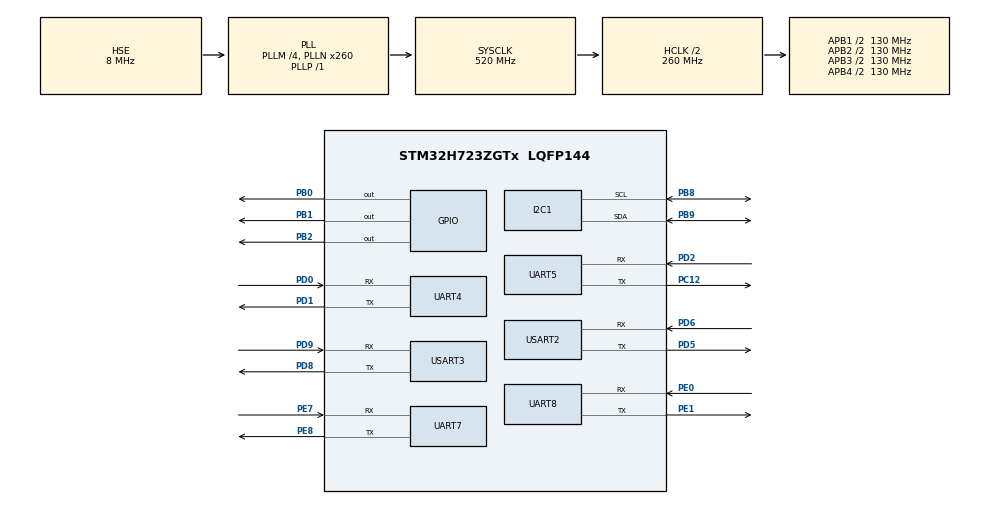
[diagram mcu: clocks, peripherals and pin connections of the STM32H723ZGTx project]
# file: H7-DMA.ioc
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CORTEX_M7.default_mode_Activation=1
Dma.Request0=UART4_RX
Dma.Request1=UART5_RX
Dma.Request2=UART7_RX
Dma.Request3=USART2_RX
Dma.Request4=UART4_TX
Dma.Request5=UART5_TX
Dma.Request6=UART7_TX
Dma.Request7=USART2_TX
Dma.Request8=UART8_RX
Dma.Request9=UART8_TX
Dma.UART4_RX.0.Direction=DMA_PERIPH_TO_MEMORY
Dma.UART4_RX.0.EventEnable=DISABLE
Dma.UART4_RX.0.FIFOMode=DMA_FIFOMODE_DISABLE
Dma.UART4_RX.0.Instance=DMA1_Stream0
Dma.UART4_RX.0.MemDataAlignment=DMA_MDATAALIGN_BYTE
Dma.UART4_RX.0.MemInc=DMA_MINC_ENABLE
Dma.UART4_RX.0.Mode=DMA_NORMAL
Dma.UART4_RX.0.PeriphDataAlignment=DMA_PDATAALIGN_BYTE
Dma.UART4_RX.0.PeriphInc=DMA_PINC_DISABLE
Dma.UART4_RX.0.Polarity=HAL_DMAMUX_REQ_GEN_RISING
Dma.UART4_RX.0.Priority=DMA_PRIORITY_HIGH
Dma.UART4_RX.0.RequestNumber=1
Dma.UART4_RX.0.SignalID=NONE
Dma.UART4_RX.0.SyncEnable=DISABLE
Dma.UART4_RX.0.SyncPolarity=HAL_DMAMUX_SYNC_NO_EVENT
Dma.UART4_RX.0.SyncRequestNumber=1
Dma.UART4_RX.0.SyncSignalID=NONE
Dma.UART4_TX.4.Direction=DMA_MEMORY_TO_PERIPH
Dma.UART4_TX.4.EventEnable=DISABLE
Dma.UART4_TX.4.FIFOMode=DMA_FIFOMODE_DISABLE
Dma.UART4_TX.4.Instance=DMA1_Stream4
Dma.UART4_TX.4.MemDataAlignment=DMA_MDATAALIGN_BYTE
Dma.UART4_TX.4.MemInc=DMA_MINC_ENABLE
Dma.UART4_TX.4.Mode=DMA_NORMAL
Dma.UART4_TX.4.PeriphDataAlignment=DMA_PDATAALIGN_BYTE
Dma.UART4_TX.4.PeriphInc=DMA_PINC_DISABLE
Dma.UART4_TX.4.Polarity=HAL_DMAMUX_REQ_GEN_RISING
Dma.UART4_TX.4.Priority=DMA_PRIORITY_HIGH
Dma.UART4_TX.4.RequestNumber=1
Dma.UART4_TX.4.SignalID=NONE
Dma.UART4_TX.4.SyncEnable=DISABLE
Dma.UART4_TX.4.SyncPolarity=HAL_DMAMUX_SYNC_NO_EVENT
Dma.UART4_TX.4.SyncRequestNumber=1
Dma.UART4_TX.4.SyncSignalID=NONE
Dma.UART5_RX.1.Direction=DMA_PERIPH_TO_MEMORY
Dma.UART5_RX.1.EventEnable=DISABLE
Dma.UART5_RX.1.FIFOMode=DMA_FIFOMODE_DISABLE
Dma.UART5_RX.1.Instance=DMA1_Stream1
Dma.UART5_RX.1.MemDataAlignment=DMA_MDATAALIGN_BYTE
Dma.UART5_RX.1.MemInc=DMA_MINC_ENABLE
Dma.UART5_RX.1.Mode=DMA_NORMAL
Dma.UART5_RX.1.PeriphDataAlignment=DMA_PDATAALIGN_BYTE
Dma.UART5_RX.1.PeriphInc=DMA_PINC_DISABLE
Dma.UART5_RX.1.Polarity=HAL_DMAMUX_REQ_GEN_RISING
Dma.UART5_RX.1.Priority=DMA_PRIORITY_HIGH
Dma.UART5_RX.1.RequestNumber=1
Dma.UART5_RX.1.SignalID=NONE
Dma.UART5_RX.1.SyncEnable=DISABLE
Dma.UART5_RX.1.SyncPolarity=HAL_DMAMUX_SYNC_NO_EVENT
Dma.UART5_RX.1.SyncRequestNumber=1
Dma.UART5_RX.1.SyncSignalID=NONE
Dma.UART5_TX.5.Direction=DMA_MEMORY_TO_PERIPH
Dma.UART5_TX.5.EventEnable=DISABLE
Dma.UART5_TX.5.FIFOMode=DMA_FIFOMODE_DISABLE
Dma.UART5_TX.5.Instance=DMA1_Stream5
Dma.UART5_TX.5.MemDataAlignment=DMA_MDATAALIGN_BYTE
Dma.UART5_TX.5.MemInc=DMA_MINC_ENABLE
Dma.UART5_TX.5.Mode=DMA_NORMAL
Dma.UART5_TX.5.PeriphDataAlignment=DMA_PDATAALIGN_BYTE
Dma.UART5_TX.5.PeriphInc=DMA_PINC_DISABLE
Dma.UART5_TX.5.Polarity=HAL_DMAMUX_REQ_GEN_RISING
Dma.UART5_TX.5.Priority=DMA_PRIORITY_HIGH
Dma.UART5_TX.5.RequestNumber=1
Dma.UART5_TX.5.SignalID=NONE
Dma.UART5_TX.5.SyncEnable=DISABLE
Dma.UART5_TX.5.SyncPolarity=HAL_DMAMUX_SYNC_NO_EVENT
Dma.UART5_TX.5.SyncRequestNumber=1
Dma.UART5_TX.5.SyncSignalID=NONE
Dma.UART7_RX.2.Direction=DMA_PERIPH_TO_MEMORY
Dma.UART7_RX.2.EventEnable=DISABLE
Dma.UART7_RX.2.FIFOMode=DMA_FIFOMODE_DISABLE
Dma.UART7_RX.2.Instance=DMA1_Stream2
Dma.UART7_RX.2.MemDataAlignment=DMA_MDATAALIGN_BYTE
Dma.UART7_RX.2.MemInc=DMA_MINC_ENABLE
Dma.UART7_RX.2.Mode=DMA_NORMAL
Dma.UART7_RX.2.PeriphDataAlignment=DMA_PDATAALIGN_BYTE
Dma.UART7_RX.2.PeriphInc=DMA_PINC_DISABLE
Dma.UART7_RX.2.Polarity=HAL_DMAMUX_REQ_GEN_RISING
Dma.UART7_RX.2.Priority=DMA_PRIORITY_HIGH
Dma.UART7_RX.2.RequestNumber=1
Dma.UART7_RX.2.SignalID=NONE
Dma.UART7_RX.2.SyncEnable=DISABLE
Dma.UART7_RX.2.SyncPolarity=HAL_DMAMUX_SYNC_NO_EVENT
Dma.UART7_RX.2.SyncRequestNumber=1
Dma.UART7_RX.2.SyncSignalID=NONE
Dma.UART7_TX.6.Direction=DMA_MEMORY_TO_PERIPH
Dma.UART7_TX.6.EventEnable=DISABLE
Dma.UART7_TX.6.FIFOMode=DMA_FIFOMODE_DISABLE
Dma.UART7_TX.6.Instance=DMA1_Stream6
Dma.UART7_TX.6.MemDataAlignment=DMA_MDATAALIGN_BYTE
Dma.UART7_TX.6.MemInc=DMA_MINC_ENABLE
Dma.UART7_TX.6.Mode=DMA_NORMAL
Dma.UART7_TX.6.PeriphDataAlignment=DMA_PDATAALIGN_BYTE
Dma.UART7_TX.6.PeriphInc=DMA_PINC_DISABLE
Dma.UART7_TX.6.Polarity=HAL_DMAMUX_REQ_GEN_RISING
Dma.UART7_TX.6.Priority=DMA_PRIORITY_HIGH
Dma.UART7_TX.6.RequestNumber=1
Dma.UART7_TX.6.SignalID=NONE
Dma.UART7_TX.6.SyncEnable=DISABLE
Dma.UART7_TX.6.SyncPolarity=HAL_DMAMUX_SYNC_NO_EVENT
Dma.UART7_TX.6.SyncRequestNumber=1
Dma.UART7_TX.6.SyncSignalID=NONE
Dma.UART8_RX.8.Direction=DMA_PERIPH_TO_MEMORY
Dma.UART8_RX.8.EventEnable=DISABLE
Dma.UART8_RX.8.FIFOMode=DMA_FIFOMODE_DISABLE
Dma.UART8_RX.8.Instance=DMA2_Stream0
Dma.UART8_RX.8.MemDataAlignment=DMA_MDATAALIGN_BYTE
Dma.UART8_RX.8.MemInc=DMA_MINC_ENABLE
Dma.UART8_RX.8.Mode=DMA_NORMAL
Dma.UART8_RX.8.PeriphDataAlignment=DMA_PDATAALIGN_BYTE
Dma.UART8_RX.8.PeriphInc=DMA_PINC_DISABLE
Dma.UART8_RX.8.Polarity=HAL_DMAMUX_REQ_GEN_RISING
Dma.UART8_RX.8.Priority=DMA_PRIORITY_MEDIUM
Dma.UART8_RX.8.RequestNumber=1
Dma.UART8_RX.8.SignalID=NONE
Dma.UART8_RX.8.SyncEnable=DISABLE
Dma.UART8_RX.8.SyncPolarity=HAL_DMAMUX_SYNC_NO_EVENT
Dma.UART8_RX.8.SyncRequestNumber=1
Dma.UART8_RX.8.SyncSignalID=NONE
Dma.UART8_TX.9.Direction=DMA_MEMORY_TO_PERIPH
Dma.UART8_TX.9.EventEnable=DISABLE
Dma.UART8_TX.9.FIFOMode=DMA_FIFOMODE_DISABLE
Dma.UART8_TX.9.Instance=DMA2_Stream1
Dma.UART8_TX.9.MemDataAlignment=DMA_MDATAALIGN_BYTE
Dma.UART8_TX.9.MemInc=DMA_MINC_ENABLE
Dma.UART8_TX.9.Mode=DMA_NORMAL
Dma.UART8_TX.9.PeriphDataAlignment=DMA_PDATAALIGN_BYTE
Dma.UART8_TX.9.PeriphInc=DMA_PINC_DISABLE
Dma.UART8_TX.9.Polarity=HAL_DMAMUX_REQ_GEN_RISING
Dma.UART8_TX.9.Priority=DMA_PRIORITY_MEDIUM
Dma.UART8_TX.9.RequestNumber=1
Dma.UART8_TX.9.SignalID=NONE
Dma.UART8_TX.9.SyncEnable=DISABLE
Dma.UART8_TX.9.SyncPolarity=HAL_DMAMUX_SYNC_NO_EVENT
Dma.UART8_TX.9.SyncRequestNumber=1
Dma.UART8_TX.9.SyncSignalID=NONE
Dma.USART2_RX.3.Direction=DMA_PERIPH_TO_MEMORY
Dma.USART2_RX.3.EventEnable=DISABLE
Dma.USART2_RX.3.FIFOMode=DMA_FIFOMODE_DISABLE
Dma.USART2_RX.3.Instance=DMA1_Stream3
Dma.USART2_RX.3.MemDataAlignment=DMA_MDATAALIGN_BYTE
Dma.USART2_RX.3.MemInc=DMA_MINC_ENABLE
Dma.USART2_RX.3.Mode=DMA_NORMAL
Dma.USART2_RX.3.PeriphDataAlignment=DMA_PDATAALIGN_BYTE
Dma.USART2_RX.3.PeriphInc=DMA_PINC_DISABLE
Dma.USART2_RX.3.Polarity=HAL_DMAMUX_REQ_GEN_RISING
Dma.USART2_RX.3.Priority=DMA_PRIORITY_HIGH
Dma.USART2_RX.3.RequestNumber=1
Dma.USART2_RX.3.SignalID=NONE
Dma.USART2_RX.3.SyncEnable=DISABLE
Dma.USART2_RX.3.SyncPolarity=HAL_DMAMUX_SYNC_NO_EVENT
Dma.USART2_RX.3.SyncRequestNumber=1
Dma.USART2_RX.3.SyncSignalID=NONE
Dma.USART2_TX.7.Direction=DMA_MEMORY_TO_PERIPH
Dma.USART2_TX.7.EventEnable=DISABLE
Dma.USART2_TX.7.FIFOMode=DMA_FIFOMODE_DISABLE
Dma.USART2_TX.7.Instance=DMA1_Stream7
Dma.USART2_TX.7.MemDataAlignment=DMA_MDATAALIGN_BYTE
Dma.USART2_TX.7.MemInc=DMA_MINC_ENABLE
Dma.USART2_TX.7.Mode=DMA_NORMAL
Dma.USART2_TX.7.PeriphDataAlignment=DMA_PDATAALIGN_BYTE
Dma.USART2_TX.7.PeriphInc=DMA_PINC_DISABLE
Dma.USART2_TX.7.Polarity=HAL_DMAMUX_REQ_GEN_RISING
Dma.USART2_TX.7.Priority=DMA_PRIORITY_HIGH
Dma.USART2_TX.7.RequestNumber=1
Dma.USART2_TX.7.SignalID=NONE
Dma.USART2_TX.7.SyncEnable=DISABLE
Dma.USART2_TX.7.SyncPolarity=HAL_DMAMUX_SYNC_NO_EVENT
Dma.USART2_TX.7.SyncRequestNumber=1
Dma.USART2_TX.7.SyncSignalID=NONE
I2C1.CustomTiming=Enabled
I2C1.Timing=0x20A0ACFE
Mcu.Family=STM32H7
Mcu.Name=STM32H723ZGTx
Mcu.Package=LQFP144
NVIC.DMA1_Stream0_IRQn=true\:5\:0\:true\:false\:true\:false\:true\:true
NVIC.DMA1_Stream1_IRQn=true\:5\:0\:true\:false\:true\:false\:true\:true
NVIC.DMA1_Stream2_IRQn=true\:5\:0\:true\:false\:true\:false\:true\:true
NVIC.DMA1_Stream3_IRQn=true\:5\:0\:true\:false\:true\:false\:true\:true
NVIC.DMA1_Stream4_IRQn=true\:5\:0\:false\:false\:true\:false\:true\:true
NVIC.DMA1_Stream5_IRQn=true\:5\:0\:false\:false\:true\:false\:true\:true
NVIC.DMA1_Stream6_IRQn=true\:5\:0\:false\:false\:true\:false\:true\:true
NVIC.DMA1_Stream7_IRQn=true\:5\:0\:false\:false\:true\:false\:true\:true
NVIC.DMA2_Stream0_IRQn=true\:6\:0\:true\:false\:true\:false\:true\:true
NVIC.DMA2_Stream1_IRQn=true\:6\:0\:true\:false\:true\:false\:true\:true
NVIC.PriorityGroup=NVIC_PRIORITYGROUP_4
NVIC.UART4_IRQn=true\:5\:0\:true\:false\:true\:true\:true\:true
NVIC.UART5_IRQn=true\:5\:0\:true\:false\:true\:true\:true\:true
NVIC.UART7_IRQn=true\:5\:0\:true\:false\:true\:true\:true\:true
NVIC.UART8_IRQn=true\:6\:0\:true\:false\:true\:true\:true\:true
NVIC.USART2_IRQn=true\:5\:0\:true\:false\:true\:true\:true\:true
NVIC.USART3_IRQn=true\:4\:0\:true\:false\:true\:true\:true\:true
PB0.Signal=GPIO_Output
PB1.Signal=GPIO_Output
PB2.Signal=GPIO_Output
PB8.Mode=I2C
PB8.Signal=I2C1_SCL
PB9.Mode=I2C
PB9.Signal=I2C1_SDA
PC12.Mode=Asynchronous
PC12.Signal=UART5_TX
PD0.Mode=Asynchronous
PD0.Signal=UART4_RX
PD1.Mode=Asynchronous
PD1.Signal=UART4_TX
PD2.Mode=Asynchronous
PD2.Signal=UART5_RX
PD5.Mode=Asynchronous
PD5.Signal=USART2_TX
PD6.Mode=Asynchronous
PD6.Signal=USART2_RX
PD8.Mode=Asynchronous
PD8.Signal=USART3_TX
PD9.Mode=Asynchronous
PD9.Signal=USART3_RX
PE0.Mode=Asynchronous
PE0.Signal=UART8_RX
PE1.Mode=Asynchronous
PE1.Signal=UART8_TX
PE7.Mode=Asynchronous
PE7.Signal=UART7_RX
PE8.Mode=Asynchronous
PE8.Signal=UART7_TX
PH0-OSC_IN.Mode=HSE-External-Clock-Source
PH0-OSC_IN.Signal=RCC_OSC_IN
ProjectManager.HeapSize=0x200
ProjectManager.StackSize=0x400
ProjectManager.TargetToolchain=STM32CubeIDE
RCC.ADCFreq_Value=16125000
RCC.APB1Freq_Value=130000000
RCC.APB2Freq_Value=130000000
RCC.APB3Freq_Value=130000000
RCC.APB4Freq_Value=130000000
RCC.CortexFreq_Value=520000000
RCC.D1PPRE=RCC_APB3_DIV2
RCC.D2PPRE1=RCC_APB1_DIV2
RCC.D2PPRE2=RCC_APB2_DIV2
RCC.D3PPRE=RCC_APB4_DIV2
RCC.DIVM1=4
RCC.DIVN1=260
RCC.DIVP1=1
RCC.HCLKFreq_Value=260000000
RCC.HPRE=RCC_HCLK_DIV2
RCC.HSE_VALUE=8000000
RCC.PLLSourceVirtual=RCC_PLLSOURCE_HSE
RCC.SYSCLKFreq_VALUE=520000000
RCC.SYSCLKSource=RCC_SYSCLKSOURCE_PLLCLK
RCC.USBFreq_Value=260000000
USART2.VirtualMode-Asynchronous=VM_ASYNC
USART3.VirtualMode-Asynchronous=VM_ASYNC
VP_MEMORYMAP_VS_MEMORYMAP.Mode=CurAppReg
board=custom

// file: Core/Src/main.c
/* USER CODE BEGIN Header */
/**
  ******************************************************************************
  * @file           : main.c
  * @brief          : Main program body
  ******************************************************************************
  * @attention
  *
  * Copyright (c) 2026 STMicroelectronics.
  * All rights reserved.
  *
  * This software is licensed under terms that can be found in the LICENSE file
  * in the root directory of this software component.
  * If no LICENSE file comes with this software, it is provided AS-IS.
  *
  ******************************************************************************
  */
/* USER CODE END Header */
#include "main.h"

/* USER CODE BEGIN Includes */
#include "app_main.h"
#include "app_config.h"   /* I2C_TIMING_APP */
/* USER CODE END Includes */

I2C_HandleTypeDef hi2c1;

UART_HandleTypeDef huart4;
UART_HandleTypeDef huart5;
UART_HandleTypeDef huart7;
UART_HandleTypeDef huart8;
UART_HandleTypeDef huart2;
UART_HandleTypeDef huart3;
DMA_HandleTypeDef hdma_uart4_rx;
DMA_HandleTypeDef hdma_uart4_tx;
DMA_HandleTypeDef hdma_uart5_rx;
DMA_HandleTypeDef hdma_uart5_tx;
DMA_HandleTypeDef hdma_uart7_rx;
DMA_HandleTypeDef hdma_uart7_tx;
DMA_HandleTypeDef hdma_uart8_rx;
DMA_HandleTypeDef hdma_uart8_tx;
DMA_HandleTypeDef hdma_usart2_rx;
DMA_HandleTypeDef hdma_usart2_tx;

void SystemClock_Config(void);
static void MPU_Config(void);
static void MX_GPIO_Init(void);
static void MX_DMA_Init(void);
static void MX_UART4_Init(void);
static void MX_UART5_Init(void);
static void MX_UART7_Init(void);
static void MX_USART2_UART_Init(void);
static void MX_USART3_UART_Init(void);
static void MX_I2C1_Init(void);
static void MX_UART8_Init(void);

int main(void)
{

  /* MPU Configuration--------------------------------------------------------*/
  MPU_Config();

  /* MCU Configuration--------------------------------------------------------*/

  /* Reset of all peripherals, Initializes the Flash interface and the Systick. */
  HAL_Init();

  /* Configure the system clock */
  SystemClock_Config();

  /* Initialize all configured peripherals */
  MX_GPIO_Init();
  MX_DMA_Init();
  MX_UART4_Init();
  MX_UART5_Init();
  MX_UART7_Init();
  MX_USART2_UART_Init();
  MX_USART3_UART_Init();
  MX_I2C1_Init();
  MX_UART8_Init();
  /* USER CODE BEGIN 2 */
  App_Init();
  /* USER CODE END 2 */

  /* Infinite loop */
  while (1)
  {

    /* USER CODE BEGIN 3 */
    App_Update();
  }
  /* USER CODE END 3 */
}

void SystemClock_Config(void)
{
  RCC_OscInitTypeDef RCC_OscInitStruct = {0};
  RCC_ClkInitTypeDef RCC_ClkInitStruct = {0};

  /** Supply configuration update enable
  */
  HAL_PWREx_ConfigSupply(PWR_LDO_SUPPLY);

  /** Configure the main internal regulator output voltage
  */
  __HAL_PWR_VOLTAGESCALING_CONFIG(PWR_REGULATOR_VOLTAGE_SCALE0);

  while(!__HAL_PWR_GET_FLAG(PWR_FLAG_VOSRDY)) {}

  /** Initializes the RCC Oscillators according to the specified parameters
  * in the RCC_OscInitTypeDef structure.
  */
  RCC_OscInitStruct.OscillatorType = RCC_OSCILLATORTYPE_HSE;
  RCC_OscInitStruct.HSEState = RCC_HSE_BYPASS;
  RCC_OscInitStruct.PLL.PLLState = RCC_PLL_ON;
  RCC_OscInitStruct.PLL.PLLSource = RCC_PLLSOURCE_HSE;
  RCC_OscInitStruct.PLL.PLLM = 4;
  RCC_OscInitStruct.PLL.PLLN = 260;
  RCC_OscInitStruct.PLL.PLLP = 1;
  RCC_OscInitStruct.PLL.PLLQ = 2;
  RCC_OscInitStruct.PLL.PLLR = 2;
  RCC_OscInitStruct.PLL.PLLRGE = RCC_PLL1VCIRANGE_1;
  RCC_OscInitStruct.PLL.PLLVCOSEL = RCC_PLL1VCOWIDE;
  RCC_OscInitStruct.PLL.PLLFRACN = 0;
  if (HAL_RCC_OscConfig(&RCC_OscInitStruct) != HAL_OK)
  {
    Error_Handler();
  }

  /** Initializes the CPU, AHB and APB buses clocks
  */
  RCC_ClkInitStruct.ClockType = RCC_CLOCKTYPE_HCLK|RCC_CLOCKTYPE_SYSCLK
                              |RCC_CLOCKTYPE_PCLK1|RCC_CLOCKTYPE_PCLK2
                              |RCC_CLOCKTYPE_D3PCLK1|RCC_CLOCKTYPE_D1PCLK1;
  RCC_ClkInitStruct.SYSCLKSource = RCC_SYSCLKSOURCE_PLLCLK;
  RCC_ClkInitStruct.SYSCLKDivider = RCC_SYSCLK_DIV1;
  RCC_ClkInitStruct.AHBCLKDivider = RCC_HCLK_DIV2;
  RCC_ClkInitStruct.APB3CLKDivider = RCC_APB3_DIV2;
  RCC_ClkInitStruct.APB1CLKDivider = RCC_APB1_DIV2;
  RCC_ClkInitStruct.APB2CLKDivider = RCC_APB2_DIV2;
  RCC_ClkInitStruct.APB4CLKDivider = RCC_APB4_DIV2;

  if (HAL_RCC_ClockConfig(&RCC_ClkInitStruct, FLASH_LATENCY_3) != HAL_OK)
  {
    Error_Handler();
  }
}

static void MX_I2C1_Init(void)
{

  /* Reset I2C peripheral to clear any stuck bus state */
  __HAL_RCC_I2C1_FORCE_RESET();
  HAL_Delay(1);
  __HAL_RCC_I2C1_RELEASE_RESET();

  hi2c1.Instance = I2C1;
  /* I2C1 kernel clock = 130 MHz. See I2C_TIMING_APP in app_config.h. */
  hi2c1.Init.Timing = I2C_TIMING_APP;
  hi2c1.Init.OwnAddress1 = 0;
  hi2c1.Init.AddressingMode = I2C_ADDRESSINGMODE_7BIT;
  hi2c1.Init.DualAddressMode = I2C_DUALADDRESS_DISABLE;
  hi2c1.Init.OwnAddress2 = 0;
  hi2c1.Init.OwnAddress2Masks = I2C_OA2_NOMASK;
  hi2c1.Init.GeneralCallMode = I2C_GENERALCALL_DISABLE;
  hi2c1.Init.NoStretchMode = I2C_NOSTRETCH_DISABLE;
  if (HAL_I2C_Init(&hi2c1) != HAL_OK)
  {
    Error_Handler();
  }

  /** Configure Analogue filter
  */
  if (HAL_I2CEx_ConfigAnalogFilter(&hi2c1, I2C_ANALOGFILTER_ENABLE) != HAL_OK)
  {
    Error_Handler();
  }

  /** Configure Digital filter
  */
  if (HAL_I2CEx_ConfigDigitalFilter(&hi2c1, 0) != HAL_OK)
  {
    Error_Handler();
  }

}

static void MX_UART4_Init(void)
{

  huart4.Instance = UART4;
  huart4.Init.BaudRate = 115200;
  huart4.Init.WordLength = UART_WORDLENGTH_8B;
  huart4.Init.StopBits = UART_STOPBITS_1;
  huart4.Init.Parity = UART_PARITY_NONE;
  huart4.Init.Mode = UART_MODE_TX_RX;
  huart4.Init.HwFlowCtl = UART_HWCONTROL_NONE;
  huart4.Init.OverSampling = UART_OVERSAMPLING_16;
  huart4.Init.OneBitSampling = UART_ONE_BIT_SAMPLE_DISABLE;
  huart4.Init.ClockPrescaler = UART_PRESCALER_DIV1;
  huart4.AdvancedInit.AdvFeatureInit = UART_ADVFEATURE_NO_INIT;
  if (HAL_UART_Init(&huart4) != HAL_OK)
  {
    Error_Handler();
  }
  if (HAL_UARTEx_SetTxFifoThreshold(&huart4, UART_TXFIFO_THRESHOLD_1_8) != HAL_OK)
  {
    Error_Handler();
  }
  if (HAL_UARTEx_SetRxFifoThreshold(&huart4, UART_RXFIFO_THRESHOLD_1_8) != HAL_OK)
  {
    Error_Handler();
  }
  if (HAL_UARTEx_DisableFifoMode(&huart4) != HAL_OK)
  {
    Error_Handler();
  }

}

static void MX_UART5_Init(void)
{

  huart5.Instance = UART5;
  huart5.Init.BaudRate = 115200;
  huart5.Init.WordLength = UART_WORDLENGTH_8B;
  huart5.Init.StopBits = UART_STOPBITS_1;
  huart5.Init.Parity = UART_PARITY_NONE;
  huart5.Init.Mode = UART_MODE_TX_RX;
  huart5.Init.HwFlowCtl = UART_HWCONTROL_NONE;
  huart5.Init.OverSampling = UART_OVERSAMPLING_16;
  huart5.Init.OneBitSampling = UART_ONE_BIT_SAMPLE_DISABLE;
  huart5.Init.ClockPrescaler = UART_PRESCALER_DIV1;
  huart5.AdvancedInit.AdvFeatureInit = UART_ADVFEATURE_NO_INIT;
  if (HAL_UART_Init(&huart5) != HAL_OK)
  {
    Error_Handler();
  }
  if (HAL_UARTEx_SetTxFifoThreshold(&huart5, UART_TXFIFO_THRESHOLD_1_8) != HAL_OK)
  {
    Error_Handler();
  }
  if (HAL_UARTEx_SetRxFifoThreshold(&huart5, UART_RXFIFO_THRESHOLD_1_8) != HAL_OK)
  {
    Error_Handler();
  }
  if (HAL_UARTEx_DisableFifoMode(&huart5) != HAL_OK)
  {
    Error_Handler();
  }

}

static void MX_UART7_Init(void)
{

  huart7.Instance = UART7;
  huart7.Init.BaudRate = 115200;
  huart7.Init.WordLength = UART_WORDLENGTH_8B;
  huart7.Init.StopBits = UART_STOPBITS_1;
  huart7.Init.Parity = UART_PARITY_NONE;
  huart7.Init.Mode = UART_MODE_TX_RX;
  huart7.Init.HwFlowCtl = UART_HWCONTROL_NONE;
  huart7.Init.OverSampling = UART_OVERSAMPLING_16;
  huart7.Init.OneBitSampling = UART_ONE_BIT_SAMPLE_DISABLE;
  huart7.Init.ClockPrescaler = UART_PRESCALER_DIV1;
  huart7.AdvancedInit.AdvFeatureInit = UART_ADVFEATURE_NO_INIT;
  if (HAL_UART_Init(&huart7) != HAL_OK)
  {
    Error_Handler();
  }
  if (HAL_UARTEx_SetTxFifoThreshold(&huart7, UART_TXFIFO_THRESHOLD_1_8) != HAL_OK)
  {
    Error_Handler();
  }
  if (HAL_UARTEx_SetRxFifoThreshold(&huart7, UART_RXFIFO_THRESHOLD_1_8) != HAL_OK)
  {
    Error_Handler();
  }
  if (HAL_UARTEx_DisableFifoMode(&huart7) != HAL_OK)
  {
    Error_Handler();
  }

}

static void MX_UART8_Init(void)
{

  huart8.Instance = UART8;
  huart8.Init.BaudRate = 115200;
  huart8.Init.WordLength = UART_WORDLENGTH_8B;
  huart8.Init.StopBits = UART_STOPBITS_1;
  huart8.Init.Parity = UART_PARITY_NONE;
  huart8.Init.Mode = UART_MODE_TX_RX;
  huart8.Init.HwFlowCtl = UART_HWCONTROL_NONE;
  huart8.Init.OverSampling = UART_OVERSAMPLING_16;
  huart8.Init.OneBitSampling = UART_ONE_BIT_SAMPLE_DISABLE;
  huart8.Init.ClockPrescaler = UART_PRESCALER_DIV1;
  huart8.AdvancedInit.AdvFeatureInit = UART_ADVFEATURE_NO_INIT;
  if (HAL_UART_Init(&huart8) != HAL_OK)
  {
    Error_Handler();
  }
  if (HAL_UARTEx_SetTxFifoThreshold(&huart8, UART_TXFIFO_THRESHOLD_1_8) != HAL_OK)
  {
    Error_Handler();
  }
  if (HAL_UARTEx_SetRxFifoThreshold(&huart8, UART_RXFIFO_THRESHOLD_1_8) != HAL_OK)
  {
    Error_Handler();
  }
  if (HAL_UARTEx_DisableFifoMode(&huart8) != HAL_OK)
  {
    Error_Handler();
  }

}

static void MX_USART2_UART_Init(void)
{

  huart2.Instance = USART2;
  huart2.Init.BaudRate = 115200;
  huart2.Init.WordLength = UART_WORDLENGTH_8B;
  huart2.Init.StopBits = UART_STOPBITS_1;
  huart2.Init.Parity = UART_PARITY_NONE;
  huart2.Init.Mode = UART_MODE_TX_RX;
  huart2.Init.HwFlowCtl = UART_HWCONTROL_NONE;
  huart2.Init.OverSampling = UART_OVERSAMPLING_16;
  huart2.Init.OneBitSampling = UART_ONE_BIT_SAMPLE_DISABLE;
  huart2.Init.ClockPrescaler = UART_PRESCALER_DIV1;
  huart2.AdvancedInit.AdvFeatureInit = UART_ADVFEATURE_NO_INIT;
  if (HAL_UART_Init(&huart2) != HAL_OK)
  {
    Error_Handler();
  }
  if (HAL_UARTEx_SetTxFifoThreshold(&huart2, UART_TXFIFO_THRESHOLD_1_8) != HAL_OK)
  {
    Error_Handler();
  }
  if (HAL_UARTEx_SetRxFifoThreshold(&huart2, UART_RXFIFO_THRESHOLD_1_8) != HAL_OK)
  {
    Error_Handler();
  }
  if (HAL_UARTEx_DisableFifoMode(&huart2) != HAL_OK)
  {
    Error_Handler();
  }

}

static void MX_USART3_UART_Init(void)
{

  huart3.Instance = USART3;
  huart3.Init.BaudRate = 115200;
  huart3.Init.WordLength = UART_WORDLENGTH_8B;
  huart3.Init.StopBits = UART_STOPBITS_1;
  huart3.Init.Parity = UART_PARITY_NONE;
  huart3.Init.Mode = UART_MODE_TX_RX;
  huart3.Init.HwFlowCtl = UART_HWCONTROL_NONE;
  huart3.Init.OverSampling = UART_OVERSAMPLING_16;
  huart3.Init.OneBitSampling = UART_ONE_BIT_SAMPLE_DISABLE;
  huart3.Init.ClockPrescaler = UART_PRESCALER_DIV1;
  huart3.AdvancedInit.AdvFeatureInit = UART_ADVFEATURE_NO_INIT;
  if (HAL_UART_Init(&huart3) != HAL_OK)
  {
    Error_Handler();
  }
  if (HAL_UARTEx_SetTxFifoThreshold(&huart3, UART_TXFIFO_THRESHOLD_1_8) != HAL_OK)
  {
    Error_Handler();
  }
  if (HAL_UARTEx_SetRxFifoThreshold(&huart3, UART_RXFIFO_THRESHOLD_1_8) != HAL_OK)
  {
    Error_Handler();
  }
  if (HAL_UARTEx_DisableFifoMode(&huart3) != HAL_OK)
  {
    Error_Handler();
  }

}

static void MX_DMA_Init(void)
{

  /* DMA controller clock enable */
  __HAL_RCC_DMA1_CLK_ENABLE();
  __HAL_RCC_DMA2_CLK_ENABLE();

  /* DMA interrupt init */
  /* DMA1_Stream0_IRQn interrupt configuration */
  HAL_NVIC_SetPriority(DMA1_Stream0_IRQn, 5, 0);
  HAL_NVIC_EnableIRQ(DMA1_Stream0_IRQn);
  /* DMA1_Stream1_IRQn interrupt configuration */
  HAL_NVIC_SetPriority(DMA1_Stream1_IRQn, 5, 0);
  HAL_NVIC_EnableIRQ(DMA1_Stream1_IRQn);
  /* DMA1_Stream2_IRQn interrupt configuration */
  HAL_NVIC_SetPriority(DMA1_Stream2_IRQn, 5, 0);
  HAL_NVIC_EnableIRQ(DMA1_Stream2_IRQn);
  /* DMA1_Stream3_IRQn interrupt configuration */
  HAL_NVIC_SetPriority(DMA1_Stream3_IRQn, 5, 0);
  HAL_NVIC_EnableIRQ(DMA1_Stream3_IRQn);
  /* DMA1_Stream4_IRQn interrupt configuration */
  HAL_NVIC_SetPriority(DMA1_Stream4_IRQn, 5, 0);
  HAL_NVIC_EnableIRQ(DMA1_Stream4_IRQn);
  /* DMA1_Stream5_IRQn interrupt configuration */
  HAL_NVIC_SetPriority(DMA1_Stream5_IRQn, 5, 0);
  HAL_NVIC_EnableIRQ(DMA1_Stream5_IRQn);
  /* DMA1_Stream6_IRQn interrupt configuration */
  HAL_NVIC_SetPriority(DMA1_Stream6_IRQn, 5, 0);
  HAL_NVIC_EnableIRQ(DMA1_Stream6_IRQn);
  /* DMA1_Stream7_IRQn interrupt configuration */
  HAL_NVIC_SetPriority(DMA1_Stream7_IRQn, 5, 0);
  HAL_NVIC_EnableIRQ(DMA1_Stream7_IRQn);
  /* DMA2_Stream0_IRQn interrupt configuration */
  HAL_NVIC_SetPriority(DMA2_Stream0_IRQn, 6, 0);
  HAL_NVIC_EnableIRQ(DMA2_Stream0_IRQn);
  /* DMA2_Stream1_IRQn interrupt configuration */
  HAL_NVIC_SetPriority(DMA2_Stream1_IRQn, 6, 0);
  HAL_NVIC_EnableIRQ(DMA2_Stream1_IRQn);

}

static void MX_GPIO_Init(void)
{
  GPIO_InitTypeDef GPIO_InitStruct = {0};

  /* GPIO Ports Clock Enable */
  __HAL_RCC_GPIOH_CLK_ENABLE();
  __HAL_RCC_GPIOB_CLK_ENABLE();
  __HAL_RCC_GPIOE_CLK_ENABLE();
  __HAL_RCC_GPIOD_CLK_ENABLE();
  __HAL_RCC_GPIOC_CLK_ENABLE();

  /*Configure GPIO pin Output Level */
  HAL_GPIO_WritePin(GPIOB, GPIO_PIN_0|GPIO_PIN_1|GPIO_PIN_2, GPIO_PIN_RESET);

  /*Configure GPIO pins : PB0 PB1 PB2 */
  GPIO_InitStruct.Pin = GPIO_PIN_0|GPIO_PIN_1|GPIO_PIN_2;
  GPIO_InitStruct.Mode = GPIO_MODE_OUTPUT_PP;
  GPIO_InitStruct.Pull = GPIO_NOPULL;
  GPIO_InitStruct.Speed = GPIO_SPEED_FREQ_LOW;
  HAL_GPIO_Init(GPIOB, &GPIO_InitStruct);

}

 /* MPU Configuration */

void MPU_Config(void)
{
  MPU_Region_InitTypeDef MPU_InitStruct = {0};

  /* Disables the MPU */
  HAL_MPU_Disable();

  /** Initializes and configures the Region and the memory to be protected
  */
  MPU_InitStruct.Enable = MPU_REGION_ENABLE;
  MPU_InitStruct.Number = MPU_REGION_NUMBER0;
  MPU_InitStruct.BaseAddress = 0x0;
  MPU_InitStruct.Size = MPU_REGION_SIZE_4GB;
  MPU_InitStruct.SubRegionDisable = 0x87;
  MPU_InitStruct.TypeExtField = MPU_TEX_LEVEL0;
  MPU_InitStruct.AccessPermission = MPU_REGION_NO_ACCESS;
  MPU_InitStruct.DisableExec = MPU_INSTRUCTION_ACCESS_DISABLE;
  MPU_InitStruct.IsShareable = MPU_ACCESS_SHAREABLE;
  MPU_InitStruct.IsCacheable = MPU_ACCESS_NOT_CACHEABLE;
  MPU_InitStruct.IsBufferable = MPU_ACCESS_NOT_BUFFERABLE;

  HAL_MPU_ConfigRegion(&MPU_InitStruct);
  /* Enables the MPU */
  HAL_MPU_Enable(MPU_PRIVILEGED_DEFAULT);

}

void Error_Handler(void)
{
  /* USER CODE BEGIN Error_Handler_Debug */
  /* Fatal fault: blink the red activity LED (PB0) so the fault is visible
   * without a debugger.  IRQs are disabled first (so the fault state is not
   * disturbed by interrupts), therefore HAL_Delay() cannot be used — it
   * relies on the SysTick interrupt.  A rough busy-loop delay is used instead.
   *
   * PB0 is configured directly here (not via MX_GPIO_Init()) so the blink works
   * even for faults raised during SystemClock_Config() or early HAL init,
   * before MX_GPIO_Init() has run.  The GPIOB clock is enabled explicitly for
   * the same reason. */
  __disable_irq();

  __HAL_RCC_GPIOB_CLK_ENABLE();

  GPIO_InitTypeDef GPIO_InitStruct = {0};
  GPIO_InitStruct.Pin   = GPIO_PIN_0;
  GPIO_InitStruct.Mode  = GPIO_MODE_OUTPUT_PP;
  GPIO_InitStruct.Pull  = GPIO_NOPULL;
  GPIO_InitStruct.Speed = GPIO_SPEED_FREQ_LOW;
  HAL_GPIO_Init(GPIOB, &GPIO_InitStruct);

  /* Red activity LED pin — same as activity_light.c LIGHT_RED (GPIOB PIN_0).
   * Reused here directly (not via activity_light.c) so the fault indicator is
   * independent of higher-level module state. */
  const uint16_t led_pin = GPIO_PIN_0;

  while (1)
  {
    HAL_GPIO_TogglePin(GPIOB, led_pin);

    /* Busy-loop delay (~250 ms half-period at 480 MHz, -O0).  Not cycle-accurate;
     * only needs to be slow enough to see.  volatile + __NOP() prevent the
     * compiler from optimizing the loop away. */
    for (volatile uint32_t outer = 0; outer < 25; outer++)
    {
      for (volatile uint32_t inner = 0; inner < 20000; inner++)
      {
        __NOP();
      }
    }
  }
  /* USER CODE END Error_Handler_Debug */
}
